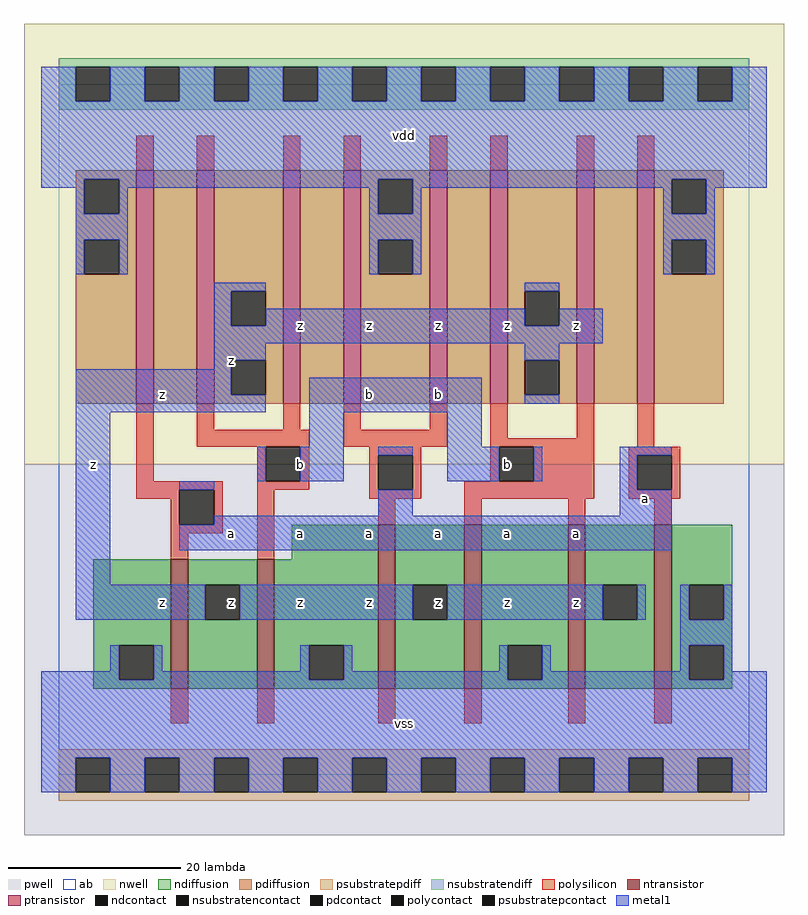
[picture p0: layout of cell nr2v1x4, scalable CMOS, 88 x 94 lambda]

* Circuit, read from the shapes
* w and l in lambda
.subckt nr2v1x4 a b vdd vss z
M1 z a vss vss nfet w=15 l=2
M2 vss b z vss nfet w=15 l=2
M3 z a vss vss nfet w=19 l=2 m=2
M4 vss b z vss nfet w=19 l=2 m=2
M5 n1 a vdd vdd pfet w=27 l=2
M6 z b n1 vdd pfet w=27 l=2
M7 n2 b z vdd pfet w=27 l=2
M8 vdd a n2 vdd pfet w=27 l=2
M9 n3 a vdd vdd pfet w=27 l=2
M10 z b n3 vdd pfet w=27 l=2
M11 n4 b z vdd pfet w=27 l=2
M12 vdd a n4 vdd pfet w=27 l=2
.ends

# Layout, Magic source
magic
tech scmos
<< ab >>
rect 0 0 80 80
<< pwell >>
rect -4 -7 84 36
<< nwell >>
rect -4 36 84 87
<< polysilicon >>
rect 9 70 11 74
rect 16 70 18 74
rect 26 70 28 74
rect 33 70 35 74
rect 43 70 45 74
rect 50 70 52 74
rect 60 70 62 74
rect 67 70 69 74
rect 9 34 11 43
rect 16 40 18 43
rect 26 40 28 43
rect 33 40 35 43
rect 43 40 45 43
rect 16 38 29 40
rect 33 38 45 40
rect 50 39 52 43
rect 60 39 62 43
rect 50 38 62 39
rect 67 38 69 43
rect 23 34 24 38
rect 28 34 29 38
rect 9 33 19 34
rect 9 32 14 33
rect 13 29 14 32
rect 18 29 19 33
rect 13 28 19 29
rect 23 33 29 34
rect 36 37 42 38
rect 36 33 37 37
rect 41 33 42 37
rect 50 34 51 38
rect 55 34 62 38
rect 13 25 15 28
rect 23 25 25 33
rect 36 32 42 33
rect 47 32 62 34
rect 66 37 72 38
rect 66 33 67 37
rect 71 33 72 37
rect 66 32 72 33
rect 37 29 39 32
rect 47 29 49 32
rect 59 29 61 32
rect 69 29 71 32
rect 13 6 15 10
rect 23 6 25 10
rect 37 6 39 10
rect 47 6 49 10
rect 59 6 61 10
rect 69 6 71 10
<< ndiffusion >>
rect 27 25 37 29
rect 4 15 13 25
rect 4 11 7 15
rect 11 11 13 15
rect 4 10 13 11
rect 15 22 23 25
rect 15 18 17 22
rect 21 18 23 22
rect 15 10 23 18
rect 25 15 37 25
rect 25 11 29 15
rect 33 11 37 15
rect 25 10 37 11
rect 39 22 47 29
rect 39 18 41 22
rect 45 18 47 22
rect 39 10 47 18
rect 49 15 59 29
rect 49 11 52 15
rect 56 11 59 15
rect 49 10 59 11
rect 61 22 69 29
rect 61 18 63 22
rect 67 18 69 22
rect 61 10 69 18
rect 71 22 78 29
rect 71 18 73 22
rect 77 18 78 22
rect 71 15 78 18
rect 71 11 73 15
rect 77 11 78 15
rect 71 10 78 11
<< pdiffusion >>
rect 2 69 9 70
rect 2 65 3 69
rect 7 65 9 69
rect 2 62 9 65
rect 2 58 3 62
rect 7 58 9 62
rect 2 43 9 58
rect 11 43 16 70
rect 18 56 26 70
rect 18 52 20 56
rect 24 52 26 56
rect 18 48 26 52
rect 18 44 20 48
rect 24 44 26 48
rect 18 43 26 44
rect 28 43 33 70
rect 35 69 43 70
rect 35 65 37 69
rect 41 65 43 69
rect 35 62 43 65
rect 35 58 37 62
rect 41 58 43 62
rect 35 43 43 58
rect 45 43 50 70
rect 52 56 60 70
rect 52 52 54 56
rect 58 52 60 56
rect 52 48 60 52
rect 52 44 54 48
rect 58 44 60 48
rect 52 43 60 44
rect 62 43 67 70
rect 69 69 77 70
rect 69 65 71 69
rect 75 65 77 69
rect 69 62 77 65
rect 69 58 71 62
rect 75 58 77 62
rect 69 43 77 58
<< metal1 >>
rect -2 78 2 82
rect 6 78 10 82
rect 14 78 18 82
rect 22 78 26 82
rect 30 78 34 82
rect 38 78 42 82
rect 46 78 50 82
rect 54 78 58 82
rect 62 78 66 82
rect 70 78 74 82
rect 78 78 82 82
rect -2 69 82 78
rect -2 68 3 69
rect 2 65 3 68
rect 7 68 37 69
rect 7 65 8 68
rect 2 62 8 65
rect 2 58 3 62
rect 7 58 8 62
rect 36 65 37 68
rect 41 68 71 69
rect 41 65 42 68
rect 36 62 42 65
rect 36 58 37 62
rect 41 58 42 62
rect 70 65 71 68
rect 75 68 82 69
rect 75 65 76 68
rect 70 62 76 65
rect 70 58 71 62
rect 75 58 76 62
rect 18 56 24 57
rect 18 52 20 56
rect 54 56 58 57
rect 24 52 54 54
rect 58 52 63 54
rect 18 50 63 52
rect 18 48 24 50
rect 18 47 20 48
rect 2 44 20 47
rect 54 48 58 50
rect 2 42 24 44
rect 29 42 49 46
rect 54 43 58 44
rect 2 22 6 42
rect 29 38 33 42
rect 45 38 49 42
rect 23 34 24 38
rect 28 34 33 38
rect 37 37 41 38
rect 14 33 18 34
rect 45 34 51 38
rect 55 34 56 38
rect 65 37 71 38
rect 37 30 41 33
rect 65 33 67 37
rect 65 30 71 33
rect 18 29 71 30
rect 14 26 71 29
rect 2 18 17 22
rect 21 18 41 22
rect 45 18 63 22
rect 67 18 68 22
rect 72 18 73 22
rect 77 18 78 22
rect 72 15 78 18
rect 6 12 7 15
rect -2 11 7 12
rect 11 12 12 15
rect 28 12 29 15
rect 11 11 29 12
rect 33 12 34 15
rect 51 12 52 15
rect 33 11 52 12
rect 56 12 57 15
rect 72 12 73 15
rect 56 11 73 12
rect 77 12 78 15
rect 77 11 82 12
rect -2 2 82 11
rect -2 -2 2 2
rect 6 -2 10 2
rect 14 -2 18 2
rect 22 -2 26 2
rect 30 -2 34 2
rect 38 -2 42 2
rect 46 -2 50 2
rect 54 -2 58 2
rect 62 -2 66 2
rect 70 -2 74 2
rect 78 -2 82 2
<< ntransistor >>
rect 13 10 15 25
rect 23 10 25 25
rect 37 10 39 29
rect 47 10 49 29
rect 59 10 61 29
rect 69 10 71 29
<< ptransistor >>
rect 9 43 11 70
rect 16 43 18 70
rect 26 43 28 70
rect 33 43 35 70
rect 43 43 45 70
rect 50 43 52 70
rect 60 43 62 70
rect 67 43 69 70
<< polycontact >>
rect 24 34 28 38
rect 14 29 18 33
rect 37 33 41 37
rect 51 34 55 38
rect 67 33 71 37
<< ndcontact >>
rect 7 11 11 15
rect 17 18 21 22
rect 29 11 33 15
rect 41 18 45 22
rect 52 11 56 15
rect 63 18 67 22
rect 73 18 77 22
rect 73 11 77 15
<< pdcontact >>
rect 3 65 7 69
rect 3 58 7 62
rect 20 52 24 56
rect 20 44 24 48
rect 37 65 41 69
rect 37 58 41 62
rect 54 52 58 56
rect 54 44 58 48
rect 71 65 75 69
rect 71 58 75 62
<< psubstratepcontact >>
rect 2 -2 6 2
rect 10 -2 14 2
rect 18 -2 22 2
rect 26 -2 30 2
rect 34 -2 38 2
rect 42 -2 46 2
rect 50 -2 54 2
rect 58 -2 62 2
rect 66 -2 70 2
rect 74 -2 78 2
<< nsubstratencontact >>
rect 2 78 6 82
rect 10 78 14 82
rect 18 78 22 82
rect 26 78 30 82
rect 34 78 38 82
rect 42 78 46 82
rect 50 78 54 82
rect 58 78 62 82
rect 66 78 70 82
rect 74 78 78 82
<< psubstratepdiff >>
rect 0 2 80 3
rect 0 -2 2 2
rect 6 -2 10 2
rect 14 -2 18 2
rect 22 -2 26 2
rect 30 -2 34 2
rect 38 -2 42 2
rect 46 -2 50 2
rect 54 -2 58 2
rect 62 -2 66 2
rect 70 -2 74 2
rect 78 -2 80 2
rect 0 -3 80 -2
<< nsubstratendiff >>
rect 0 82 80 83
rect 0 78 2 82
rect 6 78 10 82
rect 14 78 18 82
rect 22 78 26 82
rect 30 78 34 82
rect 38 78 42 82
rect 46 78 50 82
rect 54 78 58 82
rect 62 78 66 82
rect 70 78 74 82
rect 78 78 80 82
rect 0 77 80 78
<< labels >>
rlabel metal1 4 36 4 36 6 z
rlabel metal1 12 20 12 20 6 z
rlabel ndcontact 20 20 20 20 6 z
rlabel metal1 20 28 20 28 6 a
rlabel metal1 28 20 28 20 6 z
rlabel metal1 28 28 28 28 6 a
rlabel metal1 12 44 12 44 6 z
rlabel metal1 28 36 28 36 6 b
rlabel metal1 28 52 28 52 6 z
rlabel metal1 20 48 20 48 6 z
rlabel metal1 40 6 40 6 6 vss
rlabel metal1 36 20 36 20 6 z
rlabel metal1 36 28 36 28 6 a
rlabel ndcontact 44 20 44 20 6 z
rlabel metal1 44 28 44 28 6 a
rlabel metal1 36 44 36 44 6 b
rlabel metal1 44 44 44 44 6 b
rlabel metal1 36 52 36 52 6 z
rlabel metal1 44 52 44 52 6 z
rlabel metal1 40 74 40 74 6 vdd
rlabel metal1 52 20 52 20 6 z
rlabel metal1 52 28 52 28 6 a
rlabel metal1 60 20 60 20 6 z
rlabel metal1 60 28 60 28 6 a
rlabel polycontact 52 36 52 36 6 b
rlabel metal1 60 52 60 52 6 z
rlabel metal1 52 52 52 52 6 z
rlabel metal1 68 32 68 32 6 a
<< end >>
